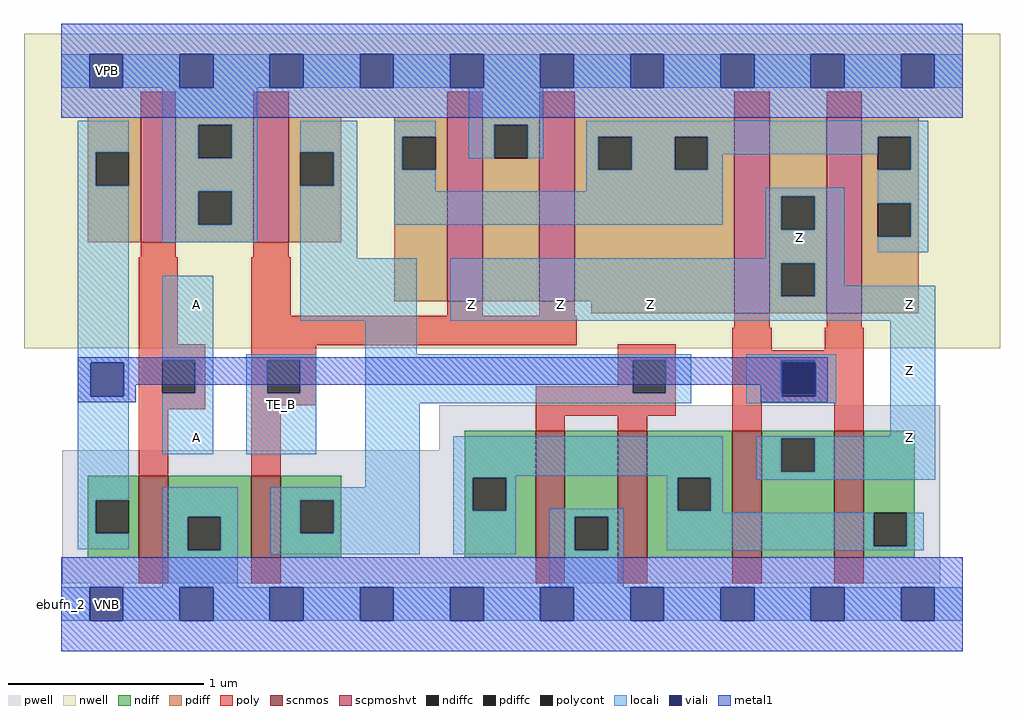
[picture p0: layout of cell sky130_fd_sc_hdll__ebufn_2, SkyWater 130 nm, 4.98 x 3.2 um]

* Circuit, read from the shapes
.subckt sky130_fd_sc_hdll__ebufn_2 A TE_B VGND VNB VPB VPWR Z
XM1 VGND A n1 VNB sky130_fd_pr__nfet_01v8 w=0.42 l=0.15
XM2 n2 TE_B VGND VNB sky130_fd_pr__nfet_01v8 w=0.42 l=0.15
XM3 VGND n2 n3 VNB sky130_fd_pr__nfet_01v8 w=0.65 l=0.15 m=2
XM4 Z n1 n3 VNB sky130_fd_pr__nfet_01v8 w=0.65 l=0.15 m=2
XM5 VPWR A n1 VPB sky130_fd_pr__pfet_01v8_hvt w=0.64 l=0.18
XM6 n2 TE_B VPWR VPB sky130_fd_pr__pfet_01v8_hvt w=0.64 l=0.18
XM7 VPWR TE_B n4 VPB sky130_fd_pr__pfet_01v8_hvt w=0.94 l=0.18 m=2
XM8 Z n1 n4 VPB sky130_fd_pr__pfet_01v8_hvt w=1 l=0.18 m=2
.ends

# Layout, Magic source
magic
tech sky130A
magscale 1 2
<< nwell >>
rect -38 261 958 582
<< pwell >>
rect 386 157 897 203
rect 1 21 897 157
rect 30 -17 64 21
<< scnmos >>
rect 79 47 109 131
rect 194 47 224 131
rect 484 47 514 177
rect 568 47 598 177
rect 685 47 715 177
rect 789 47 819 177
<< scpmoshvt >>
rect 81 369 117 497
rect 196 369 232 497
rect 394 309 430 497
rect 488 309 524 497
rect 687 297 723 497
rect 781 297 817 497
<< ndiff >>
rect 27 106 79 131
rect 27 72 35 106
rect 69 72 79 106
rect 27 47 79 72
rect 109 89 194 131
rect 109 55 129 89
rect 163 55 194 89
rect 109 47 194 55
rect 224 106 286 131
rect 224 72 244 106
rect 278 72 286 106
rect 224 47 286 72
rect 412 129 484 177
rect 412 95 420 129
rect 454 95 484 129
rect 412 47 484 95
rect 514 89 568 177
rect 514 55 524 89
rect 558 55 568 89
rect 514 47 568 55
rect 598 129 685 177
rect 598 95 629 129
rect 663 95 685 129
rect 598 47 685 95
rect 715 169 789 177
rect 715 135 735 169
rect 769 135 789 169
rect 715 47 789 135
rect 819 93 871 177
rect 819 59 829 93
rect 863 59 871 93
rect 819 47 871 59
<< pdiff >>
rect 27 461 81 497
rect 27 427 35 461
rect 69 427 81 461
rect 27 369 81 427
rect 117 489 196 497
rect 117 455 140 489
rect 174 455 196 489
rect 117 421 196 455
rect 117 387 140 421
rect 174 387 196 421
rect 117 369 196 387
rect 232 461 286 497
rect 232 427 244 461
rect 278 427 286 461
rect 232 369 286 427
rect 340 477 394 497
rect 340 443 348 477
rect 382 443 394 477
rect 340 309 394 443
rect 430 489 488 497
rect 430 455 442 489
rect 476 455 488 489
rect 430 309 488 455
rect 524 477 687 497
rect 524 443 548 477
rect 582 443 626 477
rect 660 443 687 477
rect 524 309 687 443
rect 541 297 687 309
rect 723 416 781 497
rect 723 382 735 416
rect 769 382 781 416
rect 723 348 781 382
rect 723 314 735 348
rect 769 314 781 348
rect 723 297 781 314
rect 817 477 875 497
rect 817 443 833 477
rect 867 443 875 477
rect 817 409 875 443
rect 817 375 833 409
rect 867 375 875 409
rect 817 297 875 375
<< ndiffc >>
rect 35 72 69 106
rect 129 55 163 89
rect 244 72 278 106
rect 420 95 454 129
rect 524 55 558 89
rect 629 95 663 129
rect 735 135 769 169
rect 829 59 863 93
<< pdiffc >>
rect 35 427 69 461
rect 140 455 174 489
rect 140 387 174 421
rect 244 427 278 461
rect 348 443 382 477
rect 442 455 476 489
rect 548 443 582 477
rect 626 443 660 477
rect 735 382 769 416
rect 735 314 769 348
rect 833 443 867 477
rect 833 375 867 409
<< poly >>
rect 81 497 117 523
rect 196 497 232 523
rect 394 497 430 523
rect 488 497 524 523
rect 687 497 723 523
rect 781 497 817 523
rect 81 354 117 369
rect 196 354 232 369
rect 79 265 119 354
rect 194 294 234 354
rect 394 294 430 309
rect 488 294 524 309
rect 79 249 147 265
rect 79 215 103 249
rect 137 215 147 249
rect 79 199 147 215
rect 194 264 526 294
rect 687 282 723 297
rect 781 282 817 297
rect 194 249 260 264
rect 194 215 210 249
rect 244 215 260 249
rect 568 249 627 265
rect 568 222 583 249
rect 194 203 260 215
rect 484 215 583 222
rect 617 215 627 249
rect 79 131 109 199
rect 194 131 224 203
rect 484 192 627 215
rect 685 259 725 282
rect 779 259 819 282
rect 685 249 819 259
rect 685 215 735 249
rect 769 215 819 249
rect 685 205 819 215
rect 484 177 514 192
rect 568 177 598 192
rect 685 177 715 205
rect 789 177 819 205
rect 79 21 109 47
rect 194 21 224 47
rect 484 21 514 47
rect 568 21 598 47
rect 685 21 715 47
rect 789 21 819 47
<< polycont >>
rect 103 215 137 249
rect 210 215 244 249
rect 583 215 617 249
rect 735 215 769 249
<< locali >>
rect 0 527 29 561
rect 63 527 121 561
rect 155 527 213 561
rect 247 527 305 561
rect 339 527 397 561
rect 431 527 489 561
rect 523 527 581 561
rect 615 527 673 561
rect 707 527 765 561
rect 799 527 857 561
rect 891 527 920 561
rect 17 461 69 493
rect 17 427 35 461
rect 17 246 69 427
rect 103 489 200 527
rect 103 455 140 489
rect 174 455 200 489
rect 103 421 200 455
rect 103 387 140 421
rect 174 387 200 421
rect 103 369 200 387
rect 244 461 302 493
rect 278 427 302 461
rect 244 353 302 427
rect 340 477 382 493
rect 340 443 348 477
rect 416 489 492 527
rect 416 455 442 489
rect 476 455 492 489
rect 536 477 885 493
rect 340 421 382 443
rect 536 443 548 477
rect 582 443 626 477
rect 660 459 833 477
rect 660 443 675 459
rect 536 421 675 443
rect 867 443 885 477
rect 340 387 675 421
rect 719 416 799 425
rect 719 382 735 416
rect 769 382 799 416
rect 719 353 799 382
rect 833 409 885 443
rect 867 375 885 409
rect 833 359 885 375
rect 17 212 30 246
rect 64 212 69 246
rect 17 106 69 212
rect 103 249 155 335
rect 244 289 363 353
rect 397 348 799 353
rect 397 314 735 348
rect 769 325 799 348
rect 769 314 892 325
rect 397 289 892 314
rect 310 255 363 289
rect 137 215 155 249
rect 103 153 155 215
rect 189 249 260 255
rect 189 215 210 249
rect 244 215 260 249
rect 189 153 260 215
rect 310 249 643 255
rect 310 215 583 249
rect 617 215 643 249
rect 310 205 643 215
rect 699 249 791 255
rect 699 215 735 249
rect 769 246 791 249
rect 699 212 736 215
rect 770 212 791 246
rect 699 205 791 212
rect 310 119 366 205
rect 846 171 892 289
rect 17 72 35 106
rect 17 56 69 72
rect 103 89 180 119
rect 103 55 129 89
rect 163 55 180 89
rect 103 17 180 55
rect 214 106 366 119
rect 214 72 244 106
rect 278 72 366 106
rect 214 51 366 72
rect 400 131 675 171
rect 400 129 464 131
rect 400 95 420 129
rect 454 95 464 129
rect 618 129 675 131
rect 400 51 464 95
rect 498 89 574 97
rect 498 55 524 89
rect 558 55 574 89
rect 618 95 629 129
rect 663 95 675 129
rect 709 169 892 171
rect 709 135 735 169
rect 769 135 892 169
rect 709 127 892 135
rect 618 93 675 95
rect 618 59 829 93
rect 863 59 880 93
rect 618 55 880 59
rect 498 17 574 55
rect 0 -17 29 17
rect 63 -17 121 17
rect 155 -17 213 17
rect 247 -17 305 17
rect 339 -17 397 17
rect 431 -17 489 17
rect 523 -17 581 17
rect 615 -17 673 17
rect 707 -17 765 17
rect 799 -17 857 17
rect 891 -17 920 17
<< viali >>
rect 29 527 63 561
rect 121 527 155 561
rect 213 527 247 561
rect 305 527 339 561
rect 397 527 431 561
rect 489 527 523 561
rect 581 527 615 561
rect 673 527 707 561
rect 765 527 799 561
rect 857 527 891 561
rect 30 212 64 246
rect 736 215 769 246
rect 769 215 770 246
rect 736 212 770 215
rect 29 -17 63 17
rect 121 -17 155 17
rect 213 -17 247 17
rect 305 -17 339 17
rect 397 -17 431 17
rect 489 -17 523 17
rect 581 -17 615 17
rect 673 -17 707 17
rect 765 -17 799 17
rect 857 -17 891 17
<< metal1 >>
rect 0 561 920 592
rect 0 527 29 561
rect 63 527 121 561
rect 155 527 213 561
rect 247 527 305 561
rect 339 527 397 561
rect 431 527 489 561
rect 523 527 581 561
rect 615 527 673 561
rect 707 527 765 561
rect 799 527 857 561
rect 891 527 920 561
rect 0 496 920 527
rect 17 246 782 252
rect 17 212 30 246
rect 64 224 736 246
rect 64 212 76 224
rect 17 206 76 212
rect 714 212 736 224
rect 770 212 782 246
rect 714 206 782 212
rect 0 17 920 48
rect 0 -17 29 17
rect 63 -17 121 17
rect 155 -17 213 17
rect 247 -17 305 17
rect 339 -17 397 17
rect 431 -17 489 17
rect 523 -17 581 17
rect 615 -17 673 17
rect 707 -17 765 17
rect 799 -17 857 17
rect 891 -17 920 17
rect 0 -48 920 -17
<< labels >>
flabel locali s 849 221 883 255 0 FreeSans 200 0 0 0 Z
port 7 nsew signal output
flabel locali s 849 289 883 323 0 FreeSans 200 0 0 0 Z
port 7 nsew signal output
flabel locali s 121 153 155 187 0 FreeSans 200 0 0 0 A
port 1 nsew signal input
flabel locali s 736 357 770 391 0 FreeSans 200 0 0 0 Z
port 7 nsew signal output
flabel locali s 121 289 155 323 0 FreeSans 200 0 0 0 A
port 1 nsew signal input
flabel locali s 189 153 260 255 0 FreeSans 200 0 0 0 TE_B
port 2 nsew signal input
flabel locali s 601 306 601 306 0 FreeSans 200 0 0 0 Z
port 7 nsew
flabel locali s 509 306 509 306 0 FreeSans 200 0 0 0 Z
port 7 nsew
flabel locali s 419 306 419 306 0 FreeSans 200 0 0 0 Z
port 7 nsew
flabel locali s 849 153 883 187 0 FreeSans 200 0 0 0 Z
port 7 nsew
flabel pwell s 30 -17 64 17 0 FreeSans 200 0 0 0 VNB
port 4 nsew ground bidirectional
flabel nwell s 30 527 64 561 0 FreeSans 200 0 0 0 VPB
port 5 nsew power bidirectional
flabel metal1 s 30 -17 64 17 0 FreeSans 200 0 0 0 VGND
port 3 nsew ground bidirectional
flabel metal1 s 30 527 64 561 0 FreeSans 200 0 0 0 VPWR
port 6 nsew power bidirectional
rlabel comment s 0 0 0 0 4 ebufn_2
<< properties >>
string LEFsite unithd
string LEFclass CORE
string FIXED_BBOX 0 0 920 544
string GDS_FILE $PDKPATH/libs.ref/sky130_fd_sc_hdll/gds/sky130_fd_sc_hdll.gds
string LEFsymmetry X Y R90
string GDS_END 1555074
string GDS_START 1547654
string LEFproperties maskLayoutSubType "abstract" prCellType "standard" originalViewName "layout"
<< end >>
